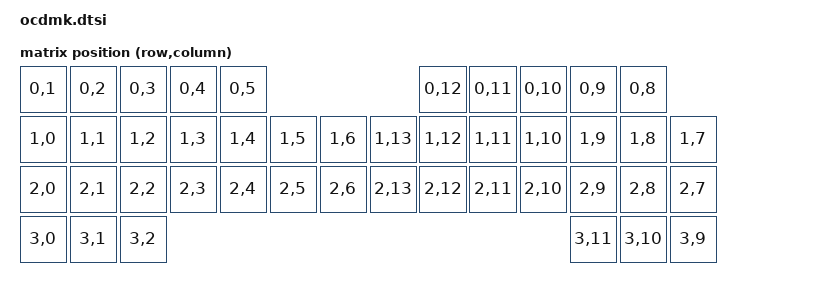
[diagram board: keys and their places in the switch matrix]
/*
 * OCDMK Shield - Shared Configuration
 * 7 columns × 4 rows split keyboard matrix
 */

#include <dt-bindings/zmk/matrix_transform.h>

#include "ocdmk-layouts.dtsi"

/ {
    chosen {
        zmk,physical-layout = &default_layout;
        zmk,kscan = &kscan;
        zmk,matrix-transform = &default_transform;
        
        /*
         * WIRED SPLIT: Uncomment the line below when using CONFIG_ZMK_SPLIT_SERIAL=y
         * This enables UART communication between keyboard halves via pins 13/14 (TX/RX)
         */
        // zmk,split-serial = &ocdmk_core_serial;
    };

    /*
     * Charging Status LED Indicator
     * STAT1/STAT2 from ocdmk_charger nexus (defined in ocdmk_core_pins.dtsi)
     * led-gpios is overridden in left/right overlays due to PCB mirroring
     */
    charging_led: charging_indicator {
        compatible = "zmk,indicator-led";
        stat1-gpios = <&ocdmk_charger 0 GPIO_ACTIVE_HIGH>;  /* STAT1: P0.00 */
        stat2-gpios = <&ocdmk_charger 1 GPIO_ACTIVE_HIGH>;  /* STAT2: P0.31 */
        /* led-gpios defined in left/right overlays */
    };

    kscan: kscan {
        compatible = "zmk,kscan-gpio-matrix";
        diode-direction = "col2row";
        wakeup-source;
        /* Row and column gpios defined in left/right overlays due to PCB mirroring */
    };

    default_transform: default_transform {
        compatible = "zmk,matrix-transform";
        columns = <14>;  /* 7 cols × 2 halves */
        rows = <4>;

        /*
         * Split keyboard matrix layout (44 keys total)
         * Left side: columns 0-6 (22 keys)
         * Right side: columns 7-13 (22 keys, mirrored)
         *
         * Physical layout:
         * R1: [--][C1][C2][C3][C4][C5][--]  |  [--][C5][C4][C3][C2][C1][--]
         * R2: [C0][C1][C2][C3][C4][C5][C6]  |  [C6][C5][C4][C3][C2][C1][C0]
         * R3: [C0][C1][C2][C3][C4][C5][C6]  |  [C6][C5][C4][C3][C2][C1][C0]
         * R4: [C0][C1][C2][--][--][--][--]  |  [--][--][--][--][C2][C1][C0]
         */
        map = <
                RC(0,1) RC(0,2) RC(0,3) RC(0,4) RC(0,5)                     RC(0,12) RC(0,11) RC(0,10) RC(0,9) RC(0,8)
            RC(1,0) RC(1,1) RC(1,2) RC(1,3) RC(1,4) RC(1,5) RC(1,6)    RC(1,13) RC(1,12) RC(1,11) RC(1,10) RC(1,9) RC(1,8) RC(1,7)
            RC(2,0) RC(2,1) RC(2,2) RC(2,3) RC(2,4) RC(2,5) RC(2,6)    RC(2,13) RC(2,12) RC(2,11) RC(2,10) RC(2,9) RC(2,8) RC(2,7)
            RC(3,0) RC(3,1) RC(3,2)                                                                     RC(3,11) RC(3,10) RC(3,9)
        >;
    };
};
